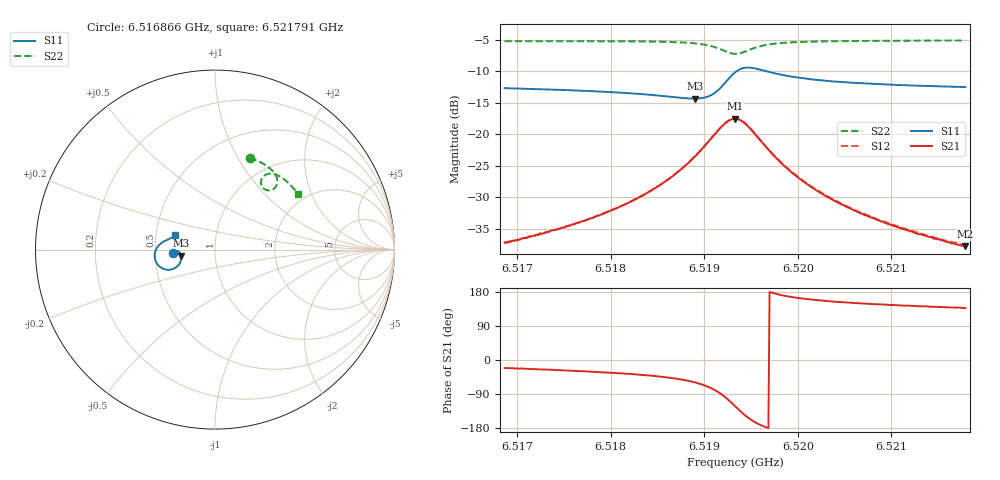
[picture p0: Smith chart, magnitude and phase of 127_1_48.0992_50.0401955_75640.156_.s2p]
#  HZ  S  RI  R  50.00
! Rohde & Schwarz Vector Network Analyzer
! Rohde-Schwarz,ZNB20-2Port,1311601062101988,3.16
! Created: UTC 12/23/2023, 3:47:22 AM
! freq[Hz]  re:S11  im:S11  re:S21  im:S21  re:S12  im:S12  re:S22  im:S22
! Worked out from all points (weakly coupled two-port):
!   401 points, 6.516866 GHz to 6.521791 GHz, reference 50 ohm
!   highest |S21| = -17.55 dB at 6.519329 GHz (marker M1); lowest = -37.8 dB at 6.521791 GHz (marker M2)
!   lowest |S11| = -14.3 dB at 6.518898 GHz (marker M3), VSWR 1.47, Z = 34.1 - j2.45 ohm
!   |S11| at or under -10 dB: start of sweep to 6.519344 GHz; 6.519668 GHz to end of sweep
!   |S22| runs from -7.2 to -5.1 dB; largest |S21 - S12| = 0.004
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6.5168663e9  -0.2313 -0.0196  0.0128 -0.00505  0.013 -0.00445  0.1937 0.5127
6.5172603e9  -0.2272 -0.0136  0.0146 -0.00681  0.0149 -0.00629  0.2229 0.5011
6.5176913e9  -0.2216 -0.00823  0.0176 -0.00996  0.0179 -0.0095  0.2547 0.4858
6.5181222e9  -0.2134 -0.00568  0.0219 -0.0157  0.0225 -0.015  0.2871 0.4663
6.5185162e9  -0.2025 -0.00955  0.0283 -0.0267  0.0292 -0.026  0.3175 0.4418
6.5187132e9  -0.1952 -0.0177  0.0321 -0.0379  0.0335 -0.037  0.3326 0.424
6.5188979e9  -0.1887 -0.0347  0.0341 -0.0566  0.0361 -0.056  0.3449 0.3997
6.5190087e9  -0.1884 -0.0532  0.0311 -0.075  0.0336 -0.0744  0.3477 0.3791
6.5190949e9  -0.195 -0.074  0.0219 -0.0938  0.025 -0.0938  0.3434 0.359
6.5192303e9  -0.2362 -0.1087  -0.02 -0.1216  -0.0166 -0.1229  0.3124 0.3311
6.5193288e9  -0.2916 -0.1052  -0.0696 -0.1128  -0.067 -0.1157  0.2743 0.3377
6.5193904e9  -0.3204 -0.0819  -0.0928 -0.0892  -0.0909 -0.0926  0.259 0.3577
6.519452e9  -0.3345 -0.051  -0.1018 -0.061  -0.1008 -0.0645  0.2562 0.3806
6.5195505e9  -0.3322 -0.0087  -0.0954 -0.025  -0.0955 -0.0281  0.2701 0.4077
6.5196613e9  -0.3166 0.0199  -0.0791 -0.00343  -0.0795 -0.00577  0.2926 0.4207
6.5199198e9  -0.2845 0.0455  -0.0495 0.0116  -0.0503 0.0103  0.3343 0.4199
6.5201538e9  -0.2672 0.0538  -0.0352 0.0133  -0.036 0.0124  0.3599 0.4091
6.5203754e9  -0.2564 0.0584  -0.0271 0.013  -0.0279 0.0124  0.3788 0.3968
6.5205724e9  -0.2492 0.0617  -0.0222 0.0123  -0.0228 0.012  0.3931 0.3855
6.5209787e9  -0.2384 0.0677  -0.0158 0.0109  -0.0164 0.0106  0.4188 0.3617
6.5213727e9  -0.2305 0.0732  -0.0122 0.00964  -0.0125 0.00954  0.4403 0.3378
6.5217914e9  -0.2234 0.0789  -0.00941 0.0088  -0.00987 0.00866  0.4606 0.3119
